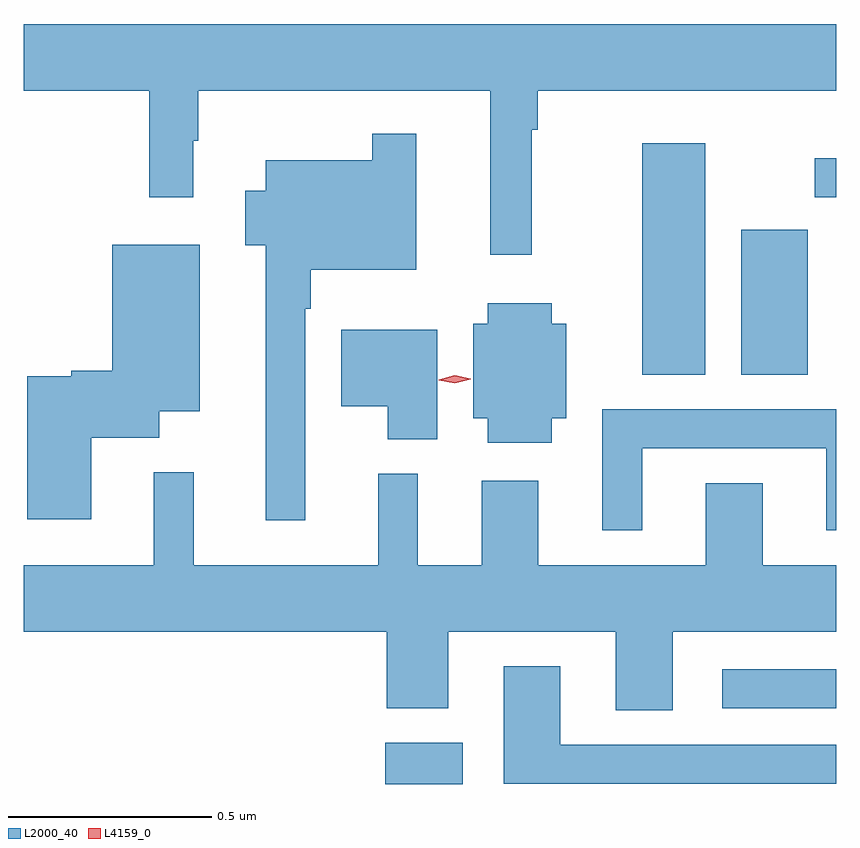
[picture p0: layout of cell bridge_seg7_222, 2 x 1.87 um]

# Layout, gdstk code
import gdstk
lib = gdstk.Library(unit=1e-6, precision=1e-09)
def R(c, l, rs):  # rectangles x0, y0, x1, y1
    for r in rs: c.add(gdstk.rectangle(r[:2], r[2:], *l))
def P(c, l, *ps):  # polygons
    for p in ps: c.add(gdstk.Polygon(p, *l))
L2000_40 = (2000, 40)
L4159_0 = (4159, 0)

bridge_seg7_222 = lib.new_cell('bridge_seg7_222')
R(bridge_seg7_222, L2000_40, [(362.942,1002.905,363.133,1003.006), (363.771,1003.092,364.052,1003.188), (363.575,1003.912,363.73,1004.482), (363.818,1003.912,363.982,1004.269), (363.999,1004.349,364.052,1004.446)])
P(bridge_seg7_222, L2000_40, [(362.052,1004.612),(362.361,1004.612),(362.361,1004.349),(362.469,1004.349),(362.469,1004.489),(362.482,1004.489),(362.482,1004.612),(363.2,1004.612),(363.2,1004.208),(363.302,1004.208),(363.302,1004.516),(363.317,1004.516),(363.317,1004.612),(364.052,1004.612),(364.052,1004.776),(362.052,1004.776)],
  [(362.745,1004.075),(362.758,1004.075),(362.758,1004.171),(363.018,1004.171),(363.018,1004.506),(362.91,1004.506),(362.91,1004.44),(362.648,1004.44),(362.648,1004.365),(362.597,1004.365),(362.597,1004.231),(362.648,1004.231),(362.648,1003.554),(362.745,1003.554)],
  [(362.218,1003.757),(362.386,1003.757),(362.386,1003.823),(362.485,1003.823),(362.485,1004.233),(362.27,1004.233),(362.27,1003.922),(362.169,1003.922),(362.169,1003.909),(362.06,1003.909),(362.06,1003.557),(362.218,1003.557)],
  [(363.352,1003.805),(363.388,1003.805),(363.388,1004.038),(363.352,1004.038),(363.352,1004.089),(363.194,1004.089),(363.194,1004.038),(363.158,1004.038),(363.158,1003.805),(363.194,1003.805),(363.194,1003.745),(363.352,1003.745)],
  [(363.07,1004.023),(362.834,1004.023),(362.834,1003.835),(362.948,1003.835),(362.948,1003.754),(363.07,1003.754)],
  [(363.574,1003.731),(364.028,1003.731),(364.028,1003.53),(364.052,1003.53),(364.052,1003.827),(363.476,1003.827),(363.476,1003.53),(363.574,1003.53)],
  [(362.924,1003.669),(362.924,1003.444),(362.471,1003.444),(362.471,1003.672),(362.372,1003.672),(362.372,1003.444),(362.052,1003.444),(362.052,1003.28),(362.945,1003.28),(362.945,1003.091),(363.097,1003.091),(363.097,1003.28),(363.509,1003.28),(363.509,1003.087),(363.649,1003.087),(363.649,1003.28),(364.052,1003.28),(364.052,1003.444),(363.871,1003.444),(363.871,1003.646),(363.731,1003.646),(363.731,1003.444),(363.319,1003.444),(363.319,1003.651),(363.179,1003.651),(363.179,1003.444),(363.022,1003.444),(363.022,1003.669)],
  [(364.052,1003.002),(363.373,1003.002),(363.373,1003.195),(363.233,1003.195),(363.233,1002.906),(364.052,1002.906)])
P(bridge_seg7_222, L4159_0, [(363.113,1003.891),(363.074,1003.899),(363.074,1003.9),(363.074,1003.9),(363.113,1003.911),(363.152,1003.903),(363.152,1003.902),(363.152,1003.902)])

lib.write_gds('bridge_seg7_222.gds')
